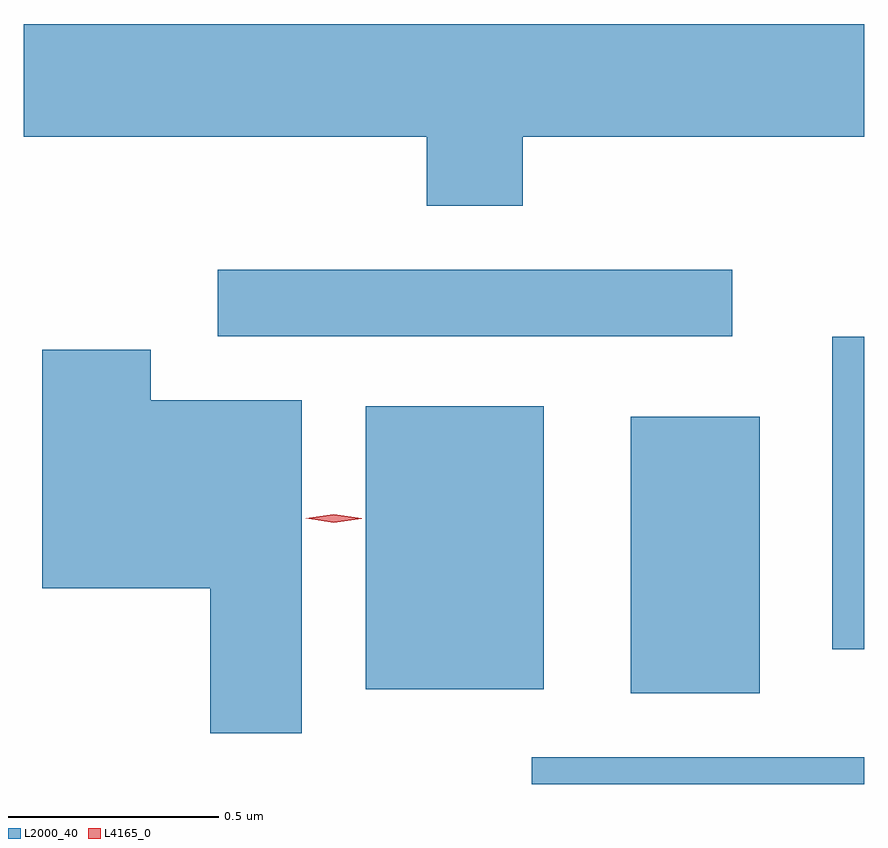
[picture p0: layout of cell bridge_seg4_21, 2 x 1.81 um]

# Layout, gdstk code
import gdstk
lib = gdstk.Library(unit=1e-6, precision=1e-09)
def R(c, l, rs):  # rectangles x0, y0, x1, y1
    for r in rs: c.add(gdstk.rectangle(r[:2], r[2:], *l))
def P(c, l, *ps):  # polygons
    for p in ps: c.add(gdstk.Polygon(p, *l))
L2000_40 = (2000, 40)
L4165_0 = (4165, 0)

bridge_seg4_21 = lib.new_cell('bridge_seg4_21')
R(bridge_seg4_21, L2000_40, [(1180.651,1293.195,1181.442,1293.259), (1180.886,1293.411,1181.194,1294.069), (1180.256,1293.421,1180.679,1294.094), (1181.366,1293.516,1181.442,1294.259), (1179.903,1294.261,1181.128,1294.419)])
P(bridge_seg4_21, L2000_40, [(1180.629,1294.736),(1181.442,1294.736),(1181.442,1295.004),(1179.442,1295.004),(1179.442,1294.736),(1180.401,1294.736),(1180.401,1294.571),(1180.629,1294.571)],
  [(1180.104,1294.109),(1179.744,1294.109),(1179.744,1294.229),(1179.486,1294.229),(1179.486,1293.661),(1179.886,1293.661),(1179.886,1293.316),(1180.104,1293.316)])
P(bridge_seg4_21, L4165_0, [(1180.179,1293.817),(1180.113,1293.827),(1180.113,1293.827),(1180.113,1293.828),(1180.18,1293.837),(1180.246,1293.827),(1180.246,1293.826),(1180.246,1293.826)])

lib.write_gds('bridge_seg4_21.gds')
